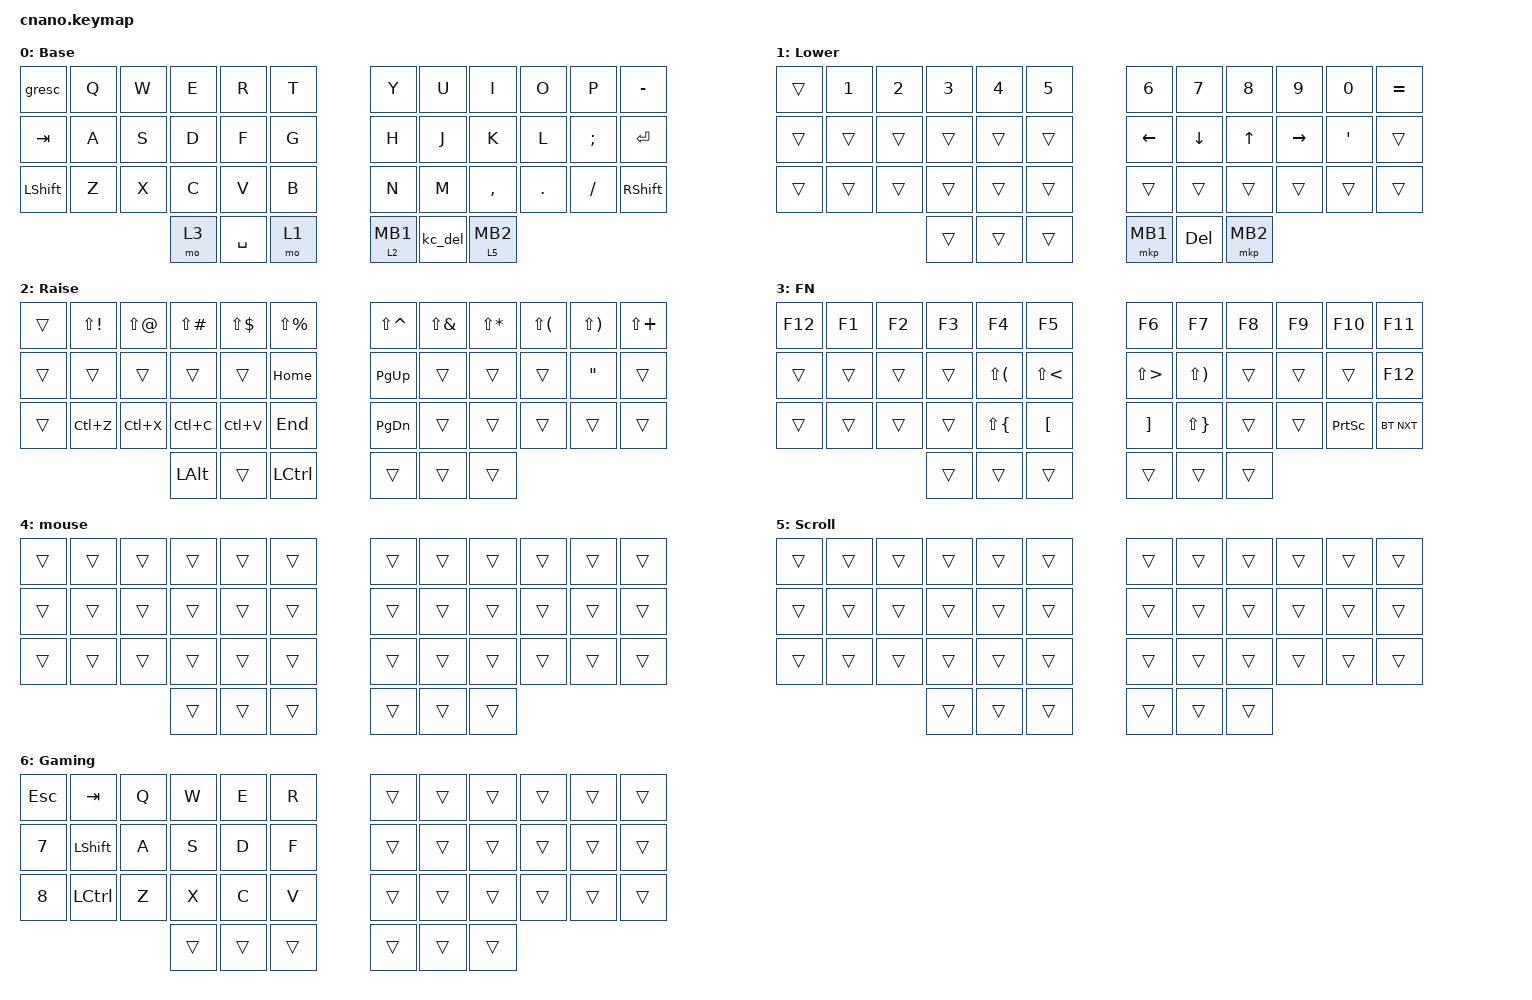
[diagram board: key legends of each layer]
#include <behaviors.dtsi>
#include <dt-bindings/zmk/bt.h>
#include <dt-bindings/zmk/keys.h>
#include <dt-bindings/zmk/mouse.h>

&mt { tapping-term-ms = <400>; };

/ {
    chosen { zmk,battery = &vbatt; };

    vbatt: vbatt {
        compatible = "zmk,battery-nrf-vddh";
        label = "VBATT";
    };

    behaviors {
        lhht: left-hand-hold-tap {
            compatible = "zmk,behavior-hold-tap";
            label = "LEFT_HOLD_TAP";
            bindings = <&kp>, <&kp>;

            #binding-cells = <2>;
            tapping-term-ms = <200>;
            flavor = "tap-preferred";
            quick-tap-ms = <125>;
            global-quick-tap;
            hold-trigger-key-positions = <6 7 8 9 19 18 33 34 35 39 40 41 5 15 25 26 16 17 27 28 29>;
        };

        rhht: rhht {
            compatible = "zmk,behavior-hold-tap";
            label = "RHHT";
            bindings = <&kp>, <&kp>;

            #binding-cells = <2>;
            tapping-term-ms = <200>;
            quick-tap-ms = <125>;
            flavor = "tap-preferred";
            global-quick-tap;
            hold-trigger-key-positions = <4 3 2 1 13 14 0 12 24 38 37 36 10 11 20 21 22 23 30 31 32>;
        };

        kc_del: kc_del {
            compatible = "zmk,behavior-mod-morph";
            label = "KC_DEL";
            bindings = <&kp BACKSPACE>, <&kp DELETE>;

            #binding-cells = <0>;
            mods = <(MOD_LSFT)>;
        };

        Scroll_RepeatLast: Scroll_RepeatLast {
            compatible = "zmk,behavior-hold-tap";
            label = "SCROLL_REPEATLAST";
            bindings = <&mo>, <&key_repeat>;

            #binding-cells = <2>;
            tapping-term-ms = <400>;
        };

        mo_mkp: mo_mkp {
            compatible = "zmk,behavior-hold-tap";
            label = "MO_MKP";
            bindings = <&mo>, <&mkp>;

            #binding-cells = <2>;
            tapping-term-ms = <400>;
        };
    };

    combos {
        compatible = "zmk,combos";

        L_alt_thumb {
            bindings = <&kp LEFT_ALT>;
            key-positions = <36 37>;
            layers = <0>;
        };

        L_ctrl_thumb {
            bindings = <&kp LCTRL>;
            key-positions = <37 38>;
            layers = <0>;
        };

        gui_esc {
            bindings = <&kp LEFT_GUI>;
            key-positions = <0 1>;
            layers = <0>;
        };

        LCtrl_pinky {
            bindings = <&kp LEFT_CONTROL>;
            key-positions = <24 25>;
            layers = <0>;
        };

        R_LShift {
            bindings = <&kp LEFT_SHIFT>;
            key-positions = <39 40>;
        };

        R_Enter {
            bindings = <&kp ENTER>;
            key-positions = <40 41>;
        };

        R_MB3 {
            bindings = <&mkp MB3>;
            key-positions = <39 41>;
        };

        DF_Scroll {
            bindings = <&mo 5>;
            key-positions = <16 15>;
        };

        ToggleGameLayer {
            bindings = <&tog 6>;
            key-positions = <0 5 6 11>;
        };
    };

    keymap {
        compatible = "zmk,keymap";

        Base {
            // -----------------------------------------------------------------------------------------
            // |  TAB |  Q  |  W  |  E  |  R  |  T  |   |  Y  |  U   |  I  |  O  |  P  | BKSP |
            // | CTRL |  A  |  S  |  D  |  F  |  G  |   |  H  |  J   |  K  |  L  |  ;  |  '   |
            // | SHFT |  Z  |  X  |  C  |  V  |  B  |   |  N  |  M   |  ,  |  .  |  /  | ESC  |
            //                    | GUI | LWR | SPC |   | ENT | RSE  | ALT |

            bindings = <
&gresc     &kp Q  &kp W  &kp E  &kp R      &kp T    &kp Y          &kp U    &kp I          &kp O    &kp P     &kp MINUS
&kp TAB    &kp A  &kp S  &kp D  &kp F      &kp G    &kp H          &kp J    &kp K          &kp L    &kp SEMI  &kp ENTER
&kp LSHFT  &kp Z  &kp X  &kp C  &kp V      &kp B    &kp N          &kp M    &kp COMMA      &kp DOT  &kp FSLH  &kp RIGHT_SHIFT
                         &mo 3  &kp SPACE  &mo 1    &mo_mkp 2 MB1  &kc_del  &mo_mkp 5 MB2
            >;
        };

        Lower {
            bindings = <
&trans  &kp N1  &kp N2  &kp N3  &kp N4  &kp N5    &kp N6    &kp N7      &kp N8    &kp N9     &kp N0   &kp EQUAL
&trans  &trans  &trans  &trans  &trans  &trans    &kp LEFT  &kp DOWN    &kp UP    &kp RIGHT  &kp SQT  &trans
&trans  &trans  &trans  &trans  &trans  &trans    &trans    &trans      &trans    &trans     &trans   &trans
                        &trans  &trans  &trans    &mkp MB1  &kp DELETE  &mkp MB2
            >;
        };

        Raise {
            bindings = <
&trans  &kp LS(EXCL)  &kp LS(AT)  &kp LS(POUND)  &kp LS(DLLR)  &kp LS(PRCNT)    &kp LS(CARET)  &kp LS(AMPS)  &kp LS(STAR)  &kp LS(LPAR)  &kp LS(RPAR)       &kp LS(PLUS)
&trans  &trans        &trans      &trans         &trans        &kp HOME         &kp PAGE_UP    &trans        &trans        &trans        &kp DOUBLE_QUOTES  &trans
&trans  &kp LC(Z)     &kp LC(X)   &kp LC(C)      &kp LC(V)     &kp END          &kp PAGE_DOWN  &trans        &trans        &trans        &trans             &trans
                                  &kp LALT       &trans        &kp LCTRL        &trans         &trans        &trans
            >;
        };

        FN {
            bindings = <
&kp F12  &kp F1  &kp F2  &kp F3  &kp F4        &kp F5        &kp F6      &kp F7        &kp F8  &kp F9  &kp F10    &kp F11
&trans   &trans  &trans  &trans  &kp LS(LPAR)  &kp LS(LT)    &kp LS(GT)  &kp LS(RPAR)  &trans  &trans  &trans     &kp F12
&trans   &trans  &trans  &trans  &kp LS(LBRC)  &kp LBKT      &kp RBKT    &kp LS(RBRC)  &trans  &trans  &kp PSCRN  &bt BT_NXT
                         &trans  &trans        &trans        &trans      &trans        &trans
            >;
        };

        mouse {
            bindings = <
&trans  &trans  &trans  &trans  &trans  &trans    &trans  &trans  &trans  &trans  &trans  &trans
&trans  &trans  &trans  &trans  &trans  &trans    &trans  &trans  &trans  &trans  &trans  &trans
&trans  &trans  &trans  &trans  &trans  &trans    &trans  &trans  &trans  &trans  &trans  &trans
                        &trans  &trans  &trans    &trans  &trans  &trans
            >;
        };

        Scroll {
            bindings = <
&trans  &trans  &trans  &trans  &trans  &trans    &trans  &trans  &trans  &trans  &trans  &trans
&trans  &trans  &trans  &trans  &trans  &trans    &trans  &trans  &trans  &trans  &trans  &trans
&trans  &trans  &trans  &trans  &trans  &trans    &trans  &trans  &trans  &trans  &trans  &trans
                        &trans  &trans  &trans    &trans  &trans  &trans
            >;
        };

        Gaming {
            bindings = <
&kp ESCAPE  &kp TAB         &kp Q  &kp W   &kp E   &kp R     &trans  &trans  &trans  &trans  &trans  &trans
&kp N7      &kp LEFT_SHIFT  &kp A  &kp S   &kp D   &kp F     &trans  &trans  &trans  &trans  &trans  &trans
&kp N8      &kp LCTRL       &kp Z  &kp X   &kp C   &kp V     &trans  &trans  &trans  &trans  &trans  &trans
                                   &trans  &trans  &trans    &trans  &trans  &trans
            >;
        };
    };
};
